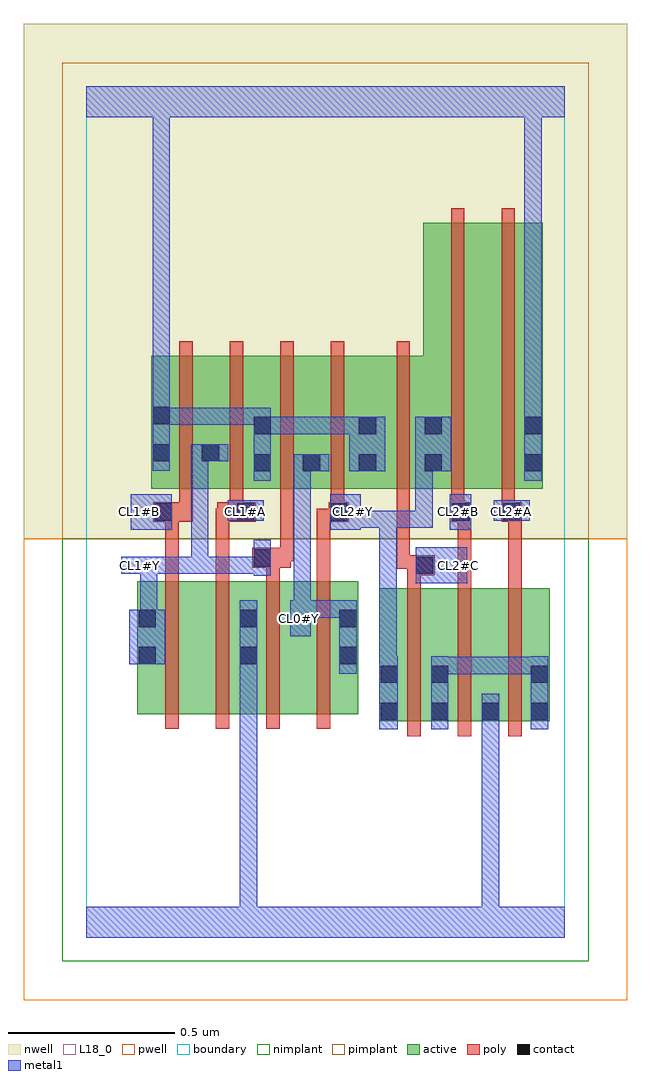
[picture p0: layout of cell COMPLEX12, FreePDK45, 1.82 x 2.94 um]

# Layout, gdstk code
import gdstk
lib = gdstk.Library(unit=1e-6, precision=1e-09)
def R(c, l, rs):  # rectangles x0, y0, x1, y1
    for r in rs: c.add(gdstk.rectangle(r[:2], r[2:], *l))
def A(c, l, x, y, w, h, nx, ny, dx, dy):  # array of equal rectangles
    R(c, l, [(x+i*dx, y+j*dy, x+i*dx+w, y+j*dy+h) for i in range(nx) for j in range(ny)])
active = (1, 0)
pwell = (2, 0)
nwell = (3, 0)
nimplant = (4, 0)
pimplant = (5, 0)
poly = (9, 0)
contact = (10, 0)
metal1 = (11, 0)
L18_0 = (18, 0)
boundary = (235, 0)

complex12 = lib.new_cell('COMPLEX12')
R(complex12, active, [(0.882,0.65,0.942,1.05), (0.882,0.65,1.094,1.05), (1.034,0.65,1.246,1.05), (1.034,0.65,1.094,1.04), (1.186,0.65,1.394,1.05), (1.186,0.65,1.246,0.93), (1.334,0.65,1.394,1.05), (0.154,0.672,0.334,1.072), (0.334,0.672,0.518,1.072), (0.458,0.672,0.518,1.072), (0.458,0.672,0.638,1.072), (0.638,0.672,0.818,1.072), (0.154,0.756,0.214,1.072), (0.758,0.756,0.818,1.072), (0.196,1.35,0.256,1.75), (0.196,1.35,0.404,1.75), (0.344,1.35,0.404,1.75), (0.344,1.35,0.56,1.75), (0.5,1.35,0.56,1.75), (0.5,1.35,0.708,1.75), (0.648,1.35,0.876,1.75), (0.816,1.35,1.074,1.75), (1.014,1.35,1.194,2.15), (1.194,1.35,1.374,2.15), (1.314,1.35,1.374,2.15), (0.648,1.398,0.708,1.644), (0.816,1.398,0.876,1.644), (1.014,1.398,1.074,1.644)])
R(complex12, pwell, [(-0.188,-0.188,1.628,1.2)])
R(complex12, nwell, [(-0.188,1.2,1.628,2.748)])
R(complex12, nimplant, [(-0.072,-0.072,1.512,1.2)])
R(complex12, pimplant, [(-0.072,1.2,1.512,2.632)])
A(complex12, poly, 0.966, 0.606, 0.04, 0.488, 3, 1, 0.152, 0)
A(complex12, poly, 0.238, 0.628, 0.04, 0.488, 4, 1, 0.152, 0)
A(complex12, poly, 0.28, 1.306, 0.04, 0.488, 4, 1, 0.152, 0)
R(complex12, poly, [(0.966,1.054,1.006,1.13), (1.118,1.054,1.158,1.29), (1.27,1.054,1.31,1.29), (0.238,1.076,0.278,1.29), (0.39,1.076,0.43,1.29), (0.542,1.076,0.582,1.152), (0.694,1.076,0.734,1.29), (0.966,1.09,1.048,1.15), (0.934,1.11,0.974,1.346), (0.934,1.11,1.006,1.15), (0.966,1.11,1.006,1.15), (0.5,1.112,0.616,1.172), (0.576,1.132,0.616,1.172), (0.576,1.132,0.624,1.172), (0.584,1.132,0.624,1.346), (0.202,1.25,0.32,1.31), (0.238,1.25,0.278,1.29), (0.238,1.25,0.278,1.29), (0.39,1.25,0.434,1.29), (0.394,1.25,0.434,1.29), (0.394,1.25,0.51,1.31), (0.694,1.25,0.77,1.29), (0.73,1.25,0.77,1.29), (0.73,1.25,0.79,1.31), (1.098,1.25,1.158,1.31), (1.118,1.25,1.158,1.29), (1.118,1.25,1.158,1.29), (1.25,1.25,1.31,1.31), (0.28,1.27,0.32,1.346), (0.432,1.27,0.472,1.346), (0.736,1.27,0.776,1.346), (1.098,1.27,1.138,1.346), (1.25,1.27,1.29,1.346), (1.25,1.27,1.29,1.31), (1.25,1.27,1.29,1.31), (0.934,1.306,0.974,1.794), (1.098,1.306,1.138,2.194), (1.25,1.306,1.29,2.194)])
A(complex12, contact, 0.886, 0.654, 0.052, 0.052, 3, 1, 0.152, 0)
R(complex12, contact, [(1.338,0.654,1.39,0.706), (0.886,0.766,0.938,0.818), (1.038,0.766,1.09,0.818), (1.338,0.766,1.39,0.818), (0.158,0.822,0.21,0.874), (0.462,0.822,0.514,0.874), (0.762,0.822,0.814,0.874), (0.158,0.934,0.21,0.986), (0.462,0.934,0.514,0.986), (0.762,0.934,0.814,0.986), (0.992,1.094,1.044,1.146), (0.504,1.116,0.556,1.168), (0.206,1.254,0.258,1.306), (0.454,1.254,0.506,1.306), (0.734,1.254,0.786,1.306), (1.102,1.254,1.154,1.306), (1.254,1.254,1.306,1.306), (0.504,1.402,0.556,1.454), (0.652,1.402,0.704,1.454), (0.82,1.402,0.872,1.454), (1.018,1.402,1.07,1.454), (1.318,1.402,1.37,1.454), (0.2,1.432,0.252,1.484), (0.348,1.432,0.4,1.484), (0.504,1.514,0.556,1.566), (0.82,1.514,0.872,1.566), (1.018,1.514,1.07,1.566), (1.318,1.514,1.37,1.566), (0.2,1.544,0.252,1.596)])
R(complex12, metal1, [(0,0,1.44,0.092), (0.462,0.04,0.514,0.092), (0.462,0.04,0.514,0.092), (0.462,0.04,0.514,0.092), (0.462,0.04,0.514,0.092), (0.462,0.04,0.514,0.092), (0.462,0.04,0.514,0.092), (0.462,0.04,0.514,0.092), (0.462,0.04,0.514,0.092), (0.462,0.04,0.514,0.092), (0.462,0.04,0.514,0.092), (0.462,0.04,0.514,0.092), (0.462,0.04,0.514,0.092), (0.462,0.04,0.514,0.846), (1.19,0.04,1.242,0.092), (1.19,0.04,1.242,0.092), (1.19,0.04,1.242,0.092), (1.19,0.04,1.242,0.092), (1.19,0.04,1.242,0.092), (1.19,0.04,1.242,0.092), (1.19,0.04,1.242,0.092), (1.19,0.04,1.242,0.092), (1.19,0.04,1.242,0.092), (1.19,0.04,1.242,0.092), (1.19,0.04,1.242,0.092), (1.19,0.04,1.242,0.092), (1.19,0.04,1.242,0.678), (0.882,0.626,0.938,0.846), (1.038,0.626,1.09,0.846), (1.19,0.626,1.242,0.734), (1.338,0.626,1.39,0.846), (1.038,0.792,1.146,0.844), (1.094,0.792,1.146,0.844), (1.094,0.792,1.26,0.844), (1.208,0.792,1.26,0.844), (1.208,0.792,1.26,0.844), (1.208,0.792,1.26,0.844), (1.208,0.792,1.39,0.844), (0.462,0.794,0.514,1.014), (0.762,0.794,0.814,1.014), (0.882,0.794,0.934,1.284), (0.13,0.822,0.238,0.986), (0.614,0.906,0.676,1.014), (0.162,0.934,0.214,1.146), (0.624,0.962,0.814,1.014), (0.624,0.962,0.676,1.454), (0.762,0.962,0.814,1.014), (0.762,0.962,0.814,1.014), (0.762,0.962,0.814,1.014), (0.762,0.962,0.814,1.014), (0.992,1.066,1.146,1.174), (0.504,1.088,0.556,1.196), (0.106,1.094,0.214,1.146), (0.162,1.094,0.214,1.146), (0.162,1.094,0.214,1.146), (0.162,1.094,0.368,1.146), (0.316,1.094,0.368,1.146), (0.316,1.094,0.368,1.146), (0.316,1.094,0.368,1.146), (0.316,1.094,0.368,1.146), (0.316,1.094,0.368,1.146), (0.316,1.094,0.556,1.146), (0.316,1.094,0.368,1.484), (0.504,1.094,0.556,1.146), (0.504,1.094,0.556,1.146), (0.134,1.226,0.258,1.334), (0.734,1.226,0.826,1.334), (1.094,1.226,1.158,1.334), (0.774,1.232,0.858,1.284), (0.806,1.232,0.858,1.284), (0.806,1.232,0.934,1.284), (0.882,1.232,0.934,1.284), (0.882,1.232,0.934,1.284), (0.882,1.232,0.934,1.284), (0.882,1.232,1.036,1.284), (0.984,1.232,1.036,1.284), (0.984,1.232,1.042,1.284), (0.99,1.232,1.042,1.284), (0.99,1.232,1.042,1.454), (0.426,1.254,0.534,1.316), (1.226,1.254,1.334,1.316), (0.504,1.374,0.556,1.594), (1.318,1.374,1.37,1.594), (0.624,1.402,0.676,1.454), (0.624,1.402,0.676,1.454), (0.624,1.402,0.732,1.454), (0.792,1.402,0.9,1.566), (0.99,1.402,1.098,1.566), (0.2,1.404,0.252,1.624), (0.316,1.432,0.428,1.484), (0.504,1.514,0.556,1.566), (0.504,1.514,0.556,1.566), (0.504,1.514,0.666,1.566), (0.614,1.514,0.666,1.566), (0.614,1.514,0.666,1.566), (0.614,1.514,0.666,1.566), (0.614,1.514,0.844,1.566), (0.2,1.542,0.252,1.594), (0.2,1.542,0.252,1.594), (0.2,1.542,0.404,1.594), (0.352,1.542,0.404,1.594), (0.352,1.542,0.404,1.594), (0.352,1.542,0.404,1.594), (0.352,1.542,0.556,1.594), (1.318,1.542,1.37,2.52), (0.2,1.572,0.252,1.624), (0.2,1.572,0.252,1.624), (0.2,1.572,0.252,1.624), (0.2,1.572,0.252,1.624), (0.2,1.572,0.252,1.624), (0.2,1.572,0.252,1.624), (0.2,1.572,0.252,1.624), (0.2,1.572,0.252,1.624), (0.2,1.572,0.252,2.52), (0,2.468,1.44,2.56), (0.2,2.468,0.252,2.52), (0.2,2.468,0.252,2.52), (0.2,2.468,0.252,2.52), (0.2,2.468,0.252,2.52), (0.2,2.468,0.252,2.52), (0.2,2.468,0.252,2.52), (0.2,2.468,0.252,2.52), (0.2,2.468,0.252,2.52), (1.318,2.468,1.37,2.52), (1.318,2.468,1.37,2.52), (1.318,2.468,1.37,2.52), (1.318,2.468,1.37,2.52), (1.318,2.468,1.37,2.52), (1.318,2.468,1.37,2.52), (1.318,2.468,1.37,2.52), (1.318,2.468,1.37,2.52)])
A(complex12, L18_0, 0.134, 1.254, 0.052, 0.052, 4, 1, 0.32, 0)
R(complex12, L18_0, [(0,0,1.44,0.092), (0.462,0.04,0.514,0.092), (0.462,0.04,0.514,0.092), (0.462,0.04,0.514,0.092), (0.462,0.04,0.514,0.092), (0.462,0.04,0.514,0.092), (0.462,0.04,0.514,0.092), (0.462,0.04,0.514,0.092), (0.462,0.04,0.514,0.092), (0.462,0.04,0.514,0.092), (0.462,0.04,0.514,0.092), (0.462,0.04,0.514,0.092), (0.462,0.04,0.514,0.092), (0.462,0.04,0.514,0.846), (1.19,0.04,1.242,0.092), (1.19,0.04,1.242,0.092), (1.19,0.04,1.242,0.092), (1.19,0.04,1.242,0.092), (1.19,0.04,1.242,0.092), (1.19,0.04,1.242,0.092), (1.19,0.04,1.242,0.092), (1.19,0.04,1.242,0.092), (1.19,0.04,1.242,0.092), (1.19,0.04,1.242,0.092), (1.19,0.04,1.242,0.092), (1.19,0.04,1.242,0.092), (1.19,0.04,1.242,0.678), (0.882,0.626,0.938,0.846), (1.19,0.626,1.242,0.734), (0.462,0.794,0.514,1.014), (0.762,0.794,0.814,1.014), (0.882,0.794,0.934,1.284), (0.13,0.822,0.238,0.986), (0.614,0.906,0.676,1.014), (0.162,0.934,0.214,1.146), (0.614,0.934,0.666,0.986), (0.624,0.962,0.676,1.454), (0.624,0.962,0.814,1.014), (0.762,0.962,0.814,1.014), (0.762,0.962,0.814,1.014), (0.762,0.962,0.814,1.014), (0.762,0.962,0.814,1.014), (0.992,1.066,1.146,1.174), (0.504,1.088,0.556,1.196), (0.106,1.094,0.214,1.146), (0.134,1.094,0.186,1.146), (0.162,1.094,0.214,1.146), (0.162,1.094,0.214,1.146), (0.162,1.094,0.368,1.146), (0.316,1.094,0.368,1.146), (0.316,1.094,0.368,1.146), (0.316,1.094,0.368,1.146), (0.316,1.094,0.368,1.146), (0.316,1.094,0.368,1.146), (0.316,1.094,0.368,1.484), (0.316,1.094,0.556,1.146), (0.504,1.094,0.556,1.146), (0.504,1.094,0.556,1.146), (1.094,1.094,1.146,1.146), (0.134,1.226,0.258,1.334), (0.734,1.226,0.826,1.334), (1.094,1.226,1.158,1.334), (0.774,1.232,0.858,1.284), (0.806,1.232,0.858,1.284), (0.806,1.232,0.934,1.284), (0.882,1.232,0.934,1.284), (0.882,1.232,0.934,1.284), (0.882,1.232,0.934,1.284), (0.882,1.232,1.036,1.284), (0.984,1.232,1.036,1.284), (0.984,1.232,1.042,1.284), (0.99,1.232,1.042,1.284), (0.99,1.232,1.042,1.454), (0.426,1.254,0.534,1.316), (1.226,1.254,1.334,1.316), (1.254,1.254,1.306,1.306), (0.504,1.374,0.556,1.594), (1.318,1.374,1.37,1.594), (0.624,1.402,0.732,1.454), (0.624,1.402,0.676,1.454), (0.624,1.402,0.676,1.454), (0.792,1.402,0.9,1.566), (0.99,1.402,1.098,1.566), (0.2,1.404,0.252,1.624), (0.316,1.432,0.428,1.484), (0.504,1.514,0.556,1.566), (0.504,1.514,0.556,1.566), (0.504,1.514,0.666,1.566), (0.614,1.514,0.666,1.566), (0.614,1.514,0.666,1.566), (0.614,1.514,0.666,1.566), (0.614,1.514,0.844,1.566), (0.2,1.542,0.252,1.594), (0.2,1.542,0.252,1.594), (0.2,1.542,0.404,1.594), (0.352,1.542,0.404,1.594), (0.352,1.542,0.404,1.594), (0.352,1.542,0.404,1.594), (0.352,1.542,0.556,1.594), (1.318,1.542,1.37,2.52), (0.2,1.572,0.252,1.624), (0.2,1.572,0.252,1.624), (0.2,1.572,0.252,1.624), (0.2,1.572,0.252,1.624), (0.2,1.572,0.252,1.624), (0.2,1.572,0.252,1.624), (0.2,1.572,0.252,1.624), (0.2,1.572,0.252,1.624), (0.2,1.572,0.252,2.52), (0,2.468,1.44,2.56), (0.2,2.468,0.252,2.52), (0.2,2.468,0.252,2.52), (0.2,2.468,0.252,2.52), (0.2,2.468,0.252,2.52), (0.2,2.468,0.252,2.52), (0.2,2.468,0.252,2.52), (0.2,2.468,0.252,2.52), (0.2,2.468,0.252,2.52), (1.318,2.468,1.37,2.52), (1.318,2.468,1.37,2.52), (1.318,2.468,1.37,2.52), (1.318,2.468,1.37,2.52), (1.318,2.468,1.37,2.52), (1.318,2.468,1.37,2.52), (1.318,2.468,1.37,2.52), (1.318,2.468,1.37,2.52)])
R(complex12, boundary, [(0,0,1.44,2.56)])
complex12.add(gdstk.Label('CL0#Y', (0.64,0.96), layer=11, texttype=0))
complex12.add(gdstk.Label('CL1#A', (0.48,1.28), layer=11, texttype=0))
complex12.add(gdstk.Label('CL1#B', (0.16,1.28), layer=11, texttype=0))
complex12.add(gdstk.Label('CL1#Y', (0.16,1.12), layer=11, texttype=0))
complex12.add(gdstk.Label('CL2#A', (1.28,1.28), layer=11, texttype=0))
complex12.add(gdstk.Label('CL2#B', (1.12,1.28), layer=11, texttype=0))
complex12.add(gdstk.Label('CL2#C', (1.12,1.12), layer=11, texttype=0))
complex12.add(gdstk.Label('CL2#Y', (0.8,1.28), layer=11, texttype=0))

lib.write_gds('COMPLEX12.gds')
